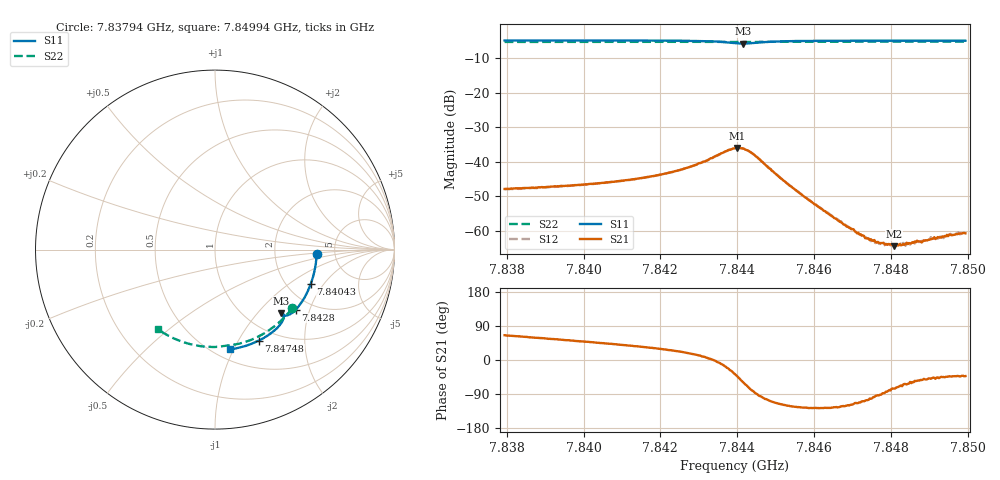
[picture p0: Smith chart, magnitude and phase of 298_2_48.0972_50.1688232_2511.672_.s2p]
#  HZ  S  RI  R  50.00
! Rohde & Schwarz Vector Network Analyzer
! Rohde-Schwarz,ZNB20-2Port,1311601062101988,3.16
! Created: UTC 12/23/2023, 4:04:28 AM
! freq[Hz]  re:S11  im:S11  re:S21  im:S21  re:S12  im:S12  re:S22  im:S22
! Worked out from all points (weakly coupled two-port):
!   401 points, 7.83794 GHz to 7.84994 GHz, reference 50 ohm
!   highest |S21| = -35.96 dB at 7.844 GHz (marker M1); lowest = -64.4 dB at 7.84808 GHz (marker M2)
!   lowest |S11| = -5.8 dB at 7.84415 GHz (marker M3), VSWR 3.10, Z = 70.8 - j67.8 ohm
!   |S11| at or under -10 dB: nowhere
!   |S22| runs from -5.4 to -5.3 dB; largest |S21 - S12| = 0.00032
!   S11 on the Smith chart (normalised r, x): 7.83794 GHz: 3.59, -0.28; 7.84043 GHz: 2.68, -1.50; 7.8428 GHz: 1.66, -1.62; 7.84748 GHz: 0.82, -1.22; 7.84994 GHz: 0.60, -0.97
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7.837943e9  0.5659 -0.0269  0.00169 0.00369  0.00172 0.00362  0.4313 -0.3247
7.839952e9  0.5442 -0.159  0.00307 0.00353  0.00305 0.0035  0.3332 -0.4256
7.840432e9  0.5341 -0.19  0.0035 0.00347  0.00344 0.00348  0.3062 -0.4457
7.841272e9  0.5117 -0.2426  0.00445 0.0034  0.00441 0.00338  0.256 -0.4767
7.841962e9  0.4881 -0.2849  0.00561 0.00322  0.00559 0.00321  0.2126 -0.498
7.842802e9  0.4505 -0.3341  0.00823 0.00246  0.00819 0.00245  0.1569 -0.5181
7.843492e9  0.4046 -0.366  0.0124 -0.00128  0.0124 -0.00121  0.1095 -0.5292
7.843942e9  0.3714 -0.3622  0.0125 -0.00952  0.0125 -0.00963  0.0795 -0.533
7.844002e9  0.3698 -0.3593  0.0116 -0.0109  0.0117 -0.0108  0.0758 -0.5333
7.844152e9  0.3702 -0.3533  0.00814 -0.0134  0.00821 -0.0131  0.0665 -0.5348
7.844452e9  0.3807 -0.3582  0.000938 -0.0125  0.00106 -0.0124  0.0474 -0.5383
7.845141e9  0.3713 -0.4065  -0.0026 -0.00512  -0.00262 -0.00514  -0.000831 -0.5426
7.845951e9  0.3313 -0.4505  -0.00156 -0.00207  -0.00156 -0.00208  -0.058 -0.5406
7.846821e9  0.2819 -0.4862  -0.000619 -0.00103  -0.000622 -0.00105  -0.1186 -0.5312
7.847151e9  0.2623 -0.4975  -0.000377 -0.000866  -0.000365 -0.000862  -0.1412 -0.5258
7.847481e9  0.2424 -0.5078  -0.000163 -0.000745  -0.000125 -0.000704  -0.1635 -0.5195
7.847751e9  0.2258 -0.5155  -1.44e-05 -0.000672  -5.02e-06 -0.00066  -0.1815 -0.5138
7.847961e9  0.2129 -0.5211  0.000122 -0.000637  9.42e-05 -0.000627  -0.1954 -0.5086
7.848081e9  0.2053 -0.5241  0.000151 -0.000586  0.000215 -0.000619  -0.2032 -0.5056
7.848441e9  0.1826 -0.5324  0.000294 -0.000577  0.000298 -0.000562  -0.2267 -0.4959
7.84955e9  0.1111 -0.5516  0.000642 -0.000603  0.00064 -0.000651  -0.295 -0.4591
7.84994e9  0.0855 -0.5561  0.000685 -0.000628  0.000702 -0.000622  -0.3179 -0.444
